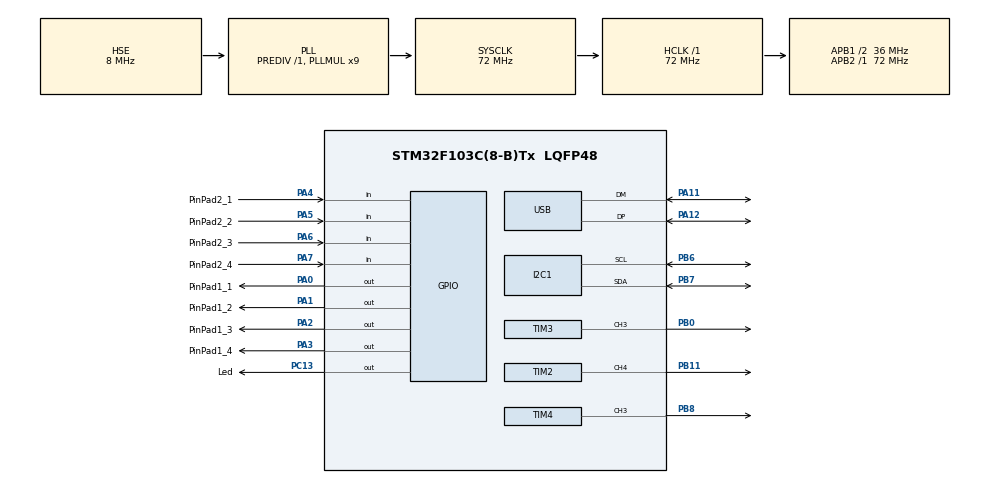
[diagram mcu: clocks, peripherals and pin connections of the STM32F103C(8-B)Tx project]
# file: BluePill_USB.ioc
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Dma.Request0=TIM4_CH3
Dma.Request1=TIM3_CH3
Dma.TIM3_CH3.1.Direction=DMA_MEMORY_TO_PERIPH
Dma.TIM3_CH3.1.Instance=DMA1_Channel2
Dma.TIM3_CH3.1.MemDataAlignment=DMA_MDATAALIGN_HALFWORD
Dma.TIM3_CH3.1.MemInc=DMA_MINC_ENABLE
Dma.TIM3_CH3.1.Mode=DMA_NORMAL
Dma.TIM3_CH3.1.PeriphDataAlignment=DMA_PDATAALIGN_HALFWORD
Dma.TIM3_CH3.1.PeriphInc=DMA_PINC_DISABLE
Dma.TIM3_CH3.1.Priority=DMA_PRIORITY_LOW
Dma.TIM4_CH3.0.Direction=DMA_MEMORY_TO_PERIPH
Dma.TIM4_CH3.0.Instance=DMA1_Channel5
Dma.TIM4_CH3.0.MemDataAlignment=DMA_MDATAALIGN_HALFWORD
Dma.TIM4_CH3.0.MemInc=DMA_MINC_ENABLE
Dma.TIM4_CH3.0.Mode=DMA_NORMAL
Dma.TIM4_CH3.0.PeriphDataAlignment=DMA_PDATAALIGN_HALFWORD
Dma.TIM4_CH3.0.PeriphInc=DMA_PINC_DISABLE
Dma.TIM4_CH3.0.Priority=DMA_PRIORITY_LOW
Mcu.Family=STM32F1
Mcu.Name=STM32F103C(8-B)Tx
Mcu.Package=LQFP48
NVIC.DMA1_Channel2_IRQn=true\:0\:0\:false\:false\:true\:false\:true
NVIC.DMA1_Channel5_IRQn=true\:0\:0\:false\:false\:true\:false\:true
NVIC.PriorityGroup=NVIC_PRIORITYGROUP_4
NVIC.TIM2_IRQn=true\:0\:0\:false\:false\:true\:true\:true
NVIC.USB_LP_CAN1_RX0_IRQn=true\:0\:0\:false\:false\:true\:false\:true
PA0-WKUP.GPIO_Label=PinPad1_1
PA0-WKUP.Signal=GPIO_Output
PA1.GPIO_Label=PinPad1_2
PA1.Signal=GPIO_Output
PA11.Mode=Device
PA11.Signal=USB_DM
PA12.Mode=Device
PA12.Signal=USB_DP
PA13.Mode=Serial_Wire
PA13.Signal=SYS_JTMS-SWDIO
PA14.Mode=Serial_Wire
PA14.Signal=SYS_JTCK-SWCLK
PA2.GPIO_Label=PinPad1_3
PA2.Signal=GPIO_Output
PA3.GPIO_Label=PinPad1_4
PA3.Signal=GPIO_Output
PA4.GPIO_Label=PinPad2_1
PA4.GPIO_PuPd=GPIO_PULLDOWN
PA4.Signal=GPIO_Input
PA5.GPIO_Label=PinPad2_2
PA5.GPIO_PuPd=GPIO_PULLDOWN
PA5.Signal=GPIO_Input
PA6.GPIO_Label=PinPad2_3
PA6.GPIO_PuPd=GPIO_PULLDOWN
PA6.Signal=GPIO_Input
PA7.GPIO_Label=PinPad2_4
PA7.GPIO_PuPd=GPIO_PULLDOWN
PA7.Signal=GPIO_Input
PB0.Signal=S_TIM3_CH3
PB11.Signal=S_TIM2_CH4
PB6.Mode=I2C
PB6.Signal=I2C1_SCL
PB7.Mode=I2C
PB7.Signal=I2C1_SDA
PB8.Signal=S_TIM4_CH3
PC13-TAMPER-RTC.GPIO_Label=Led
PC13-TAMPER-RTC.Signal=GPIO_Output
PD0-OSC_IN.Mode=HSE-External-Oscillator
PD0-OSC_IN.Signal=RCC_OSC_IN
PD1-OSC_OUT.Mode=HSE-External-Oscillator
PD1-OSC_OUT.Signal=RCC_OSC_OUT
ProjectManager.HeapSize=0x200
ProjectManager.StackSize=0x400
ProjectManager.TargetToolchain=MDK-ARM V5.32
RCC.AHBFreq_Value=72000000
RCC.APB1CLKDivider=RCC_HCLK_DIV2
RCC.APB1Freq_Value=36000000
RCC.APB1TimFreq_Value=72000000
RCC.APB2Freq_Value=72000000
RCC.APB2TimFreq_Value=72000000
RCC.HCLKFreq_Value=72000000
RCC.PLLMUL=RCC_PLL_MUL9
RCC.SYSCLKFreq_VALUE=72000000
RCC.SYSCLKSource=RCC_SYSCLKSOURCE_PLLCLK
RCC.USBFreq_Value=48000000
RCC.USBPrescaler=RCC_USBCLKSOURCE_PLL_DIV1_5
SH.S_TIM2_CH4.0=TIM2_CH4,PWM Generation4 CH4
SH.S_TIM3_CH3.0=TIM3_CH3,PWM Generation3 CH3
SH.S_TIM4_CH3.0=TIM4_CH3,PWM Generation3 CH3
TIM2.Channel-PWM\ Generation4\ CH4=TIM_CHANNEL_4
TIM2.Period=200
TIM2.Prescaler=360-1
TIM2.Pulse-PWM\ Generation4\ CH4=100
TIM3.Channel-PWM\ Generation3\ CH3=TIM_CHANNEL_3
TIM3.Period=99
TIM4.Channel-PWM\ Generation3\ CH3=TIM_CHANNEL_3
TIM4.Period=99
USB_DEVICE.CLASS_NAME_FS=CUSTOM_HID
USB_DEVICE.CUSTOM_HID_FS_BINTERVAL=0x20
USB_DEVICE.MANUFACTURER_STRING=LBSens_HUB_V1
USB_DEVICE.USBD_CUSTOMHID_OUTREPORT_BUF_SIZE=20
USB_DEVICE.USBD_CUSTOM_HID_REPORT_DESC_SIZE=108
USB_DEVICE.VirtualMode=CustomHid
USB_DEVICE.VirtualModeFS=Custom_Hid_FS
VP_TIM2_VS_ClockSourceINT.Mode=Internal
VP_USB_DEVICE_VS_USB_DEVICE_CUSTOM_HID_FS.Mode=CUSTOM_HID_FS
board=custom

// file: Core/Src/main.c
/* USER CODE BEGIN Header */
/**
  ******************************************************************************
  * @file           : main.c
  * @brief          : Main program body
  ******************************************************************************
  * @attention
  *
  * <h2><center>&copy; Copyright (c) 2021 STMicroelectronics.
  * All rights reserved.</center></h2>
  *
  * This software component is licensed by ST under BSD 3-Clause license,
  * the "License"; You may not use this file except in compliance with the
  * License. You may obtain a copy of the License at:
  *                        opensource.org/licenses/BSD-3-Clause
  *
  ******************************************************************************
  */
/* USER CODE END Header */
#include "main.h"
#include "usb_device.h"

/* USER CODE BEGIN Includes */
#include "usbd_customhid.h"
/* USER CODE END Includes */

/* USER CODE BEGIN PD */
#define LED_COUNT 10

#define TRESET 48   // not a joke, put at least 2240
#define HIGH 65
#define LOW 26

#define DATA_LENGTH TRESET + LED_COUNT*24 + 1

#define BitIsSet(reg, bit) ((reg & (1<<bit)) != 0)

#define PassLength 15
#define ReportBuffLength PassLength + 2  //1 byte of pass lenght and 1 byte of report ID

#define I2C_ADDRESS 0x09
#define I2C_TIMEOUT 10

/* USER CODE END PD */

I2C_HandleTypeDef hi2c1;

TIM_HandleTypeDef htim2;
TIM_HandleTypeDef htim3;
TIM_HandleTypeDef htim4;
DMA_HandleTypeDef hdma_tim3_ch3;
DMA_HandleTypeDef hdma_tim4_ch3;

/* USER CODE BEGIN PV */
extern USBD_HandleTypeDef  hUsbDeviceFS;

uint8_t password[ReportBuffLength];
uint8_t passNum = 2;

int TimOfBip = 0;
int CanISend = 0;
int pinPad = -1;
int pinPadPrev = -1;
uint8_t RGB[3];

uint8_t regData = 0;
uint8_t regAddress;
int Light = 0;
int LightSum = 0;
int LightAmountOfCheck = 0;
int PreviousLightSum = 0;
int WhiteOrNot = 0;

uint16_t ws2811_data [DATA_LENGTH] = {0};
uint16_t ws2811_data_1 [DATA_LENGTH] = {0};
uint16_t count = 0;
int decrement = 1;
uint16_t adcResult = 0;
/* USER CODE END PV */

void SystemClock_Config(void);
static void MX_GPIO_Init(void);
static void MX_DMA_Init(void);
static void MX_TIM4_Init(void);
static void MX_TIM2_Init(void);
static void MX_I2C1_Init(void);
static void MX_TIM3_Init(void);
/* USER CODE BEGIN PFP */
void ws2811_init(void);
void ws2811_setcolor(int pos, int R_value, int G_value, int B_value);
void ws2811_setcolor_1(int pos, int R_value, int G_value, int B_value);
/* USER CODE END PFP */

/* USER CODE BEGIN 0 */
void checkPinPad()
{
	pinPad = -1;
	for(int i = 0; i < 4; ++i)
	{
		switch (i)
    {
        case 0: HAL_GPIO_WritePin(GPIOA, GPIO_PIN_0, GPIO_PIN_SET); break;
        case 1: HAL_GPIO_WritePin(GPIOA, GPIO_PIN_1, GPIO_PIN_SET); break;
        case 2: HAL_GPIO_WritePin(GPIOA, GPIO_PIN_2, GPIO_PIN_SET); break;
        case 3: HAL_GPIO_WritePin(GPIOA, GPIO_PIN_3, GPIO_PIN_SET); break;
    }

		if(HAL_GPIO_ReadPin(GPIOA, GPIO_PIN_4)){
			pinPad = i+1;
		}else if(HAL_GPIO_ReadPin(GPIOA, GPIO_PIN_5)){
			pinPad = 5+i;
		}else if(HAL_GPIO_ReadPin(GPIOA, GPIO_PIN_6)){
			pinPad = 9+i;
		}else if(HAL_GPIO_ReadPin(GPIOA, GPIO_PIN_7)){
			pinPad = 13+i;
		}

		HAL_GPIO_WritePin(GPIOA, GPIO_PIN_0, GPIO_PIN_RESET);
		HAL_GPIO_WritePin(GPIOA, GPIO_PIN_1, GPIO_PIN_RESET);
		HAL_GPIO_WritePin(GPIOA, GPIO_PIN_2, GPIO_PIN_RESET);
		HAL_GPIO_WritePin(GPIOA, GPIO_PIN_3, GPIO_PIN_RESET);

		if(pinPad != -1)
			break;
	}
	HAL_Delay(10);
	return;
}

int ConvertPass(int num)
{
	switch(num){
			case 8: return 0;
			case 1: return 1;
			case 5: return 2;
			case 9: return 3;
			case 2: return 4;
			case 6: return 5;
			case 10: return 6;
			case 3: return 7;
			case 7: return 8;
			case 11: return 9;
			case 13: return 14;
			case 14: return 15;
			case 15: return 16;
			default: return -1;
	}

}

void Bip(int time)
{
		TimOfBip = 0;
		HAL_TIM_PWM_Start_IT(&htim2, TIM_CHANNEL_4);
		while(TimOfBip < time)
		{
			HAL_Delay(1);
		}
		HAL_TIM_PWM_Stop_IT(&htim2,TIM_CHANNEL_4);
}

int checkLight()
{
	regAddress = 0x15;//0x11;
	HAL_I2C_Master_Transmit(&hi2c1, (I2C_ADDRESS << 1), &regAddress, 1,  I2C_TIMEOUT);
  HAL_I2C_Master_Receive(&hi2c1, (I2C_ADDRESS << 1), &regData, 1,  I2C_TIMEOUT);

	return regData;
}
/* USER CODE END 0 */

int main(void)
{

  /* MCU Configuration--------------------------------------------------------*/

  /* Reset of all peripherals, Initializes the Flash interface and the Systick. */
  HAL_Init();

  /* Configure the system clock */
  SystemClock_Config();

  /* Initialize all configured peripherals */
  MX_GPIO_Init();
  MX_USB_DEVICE_Init();
  MX_DMA_Init();
  MX_TIM4_Init();
  MX_TIM2_Init();
  MX_I2C1_Init();
  MX_TIM3_Init();
  /* USER CODE BEGIN 2 */
	ws2811_init();
	//HAL_TIM_PWM_Start_DMA(&htim4, TIM_CHANNEL_3, (uint32_t*)&ws2811_data, DATA_LENGTH);
	//HAL_TIM_PWM_Start_DMA(&htim3, TIM_CHANNEL_3, (uint32_t*)&ws2811_data, DATA_LENGTH);
	HAL_GPIO_WritePin(GPIOA, GPIO_PIN_0, GPIO_PIN_RESET);
	HAL_GPIO_WritePin(GPIOA, GPIO_PIN_1, GPIO_PIN_RESET);
	HAL_GPIO_WritePin(GPIOA, GPIO_PIN_2, GPIO_PIN_RESET);
	HAL_GPIO_WritePin(GPIOA, GPIO_PIN_3, GPIO_PIN_RESET);
	HAL_GPIO_WritePin(GPIOC, GPIO_PIN_13, GPIO_PIN_SET);

	for(int i = 0; i < ReportBuffLength; ++i){
		password[i] = 0;
	}
  /* USER CODE END 2 */

  /* Infinite loop */
  /* USER CODE BEGIN WHILE */
	HAL_Delay(100);//INIT;
  while (1)
  {
		Light = checkLight();
		LightSum+=Light;
		LightAmountOfCheck++;
		if(LightAmountOfCheck >= 5){
			PreviousLightSum = LightSum/5;
			LightAmountOfCheck = 0;
			LightSum = 0;
		}

		if(PreviousLightSum > 90)
			WhiteOrNot = 1;
		else if (PreviousLightSum < 80)
			WhiteOrNot = 0;

		if(WhiteOrNot)
		{
			for(int i = 0; i < LED_COUNT; ++i)
			{
				ws2811_setcolor(i, 100, 100, 100);
			}
		} else
		{
			for(int i = 0; i < LED_COUNT; ++i)
			{
				ws2811_setcolor(i, 0, 0, 0);
			}
		}
		HAL_TIM_PWM_Start_DMA(&htim4, TIM_CHANNEL_3, (uint32_t*)&ws2811_data, DATA_LENGTH);

		for(int i = 0; i < LED_COUNT; ++i)
		{
			ws2811_setcolor_1(i, RGB[0], RGB[1], RGB[2]);
		}
		HAL_TIM_PWM_Start_DMA(&htim3, TIM_CHANNEL_3, (uint32_t*)&ws2811_data_1, DATA_LENGTH);

		checkPinPad();
		pinPad = ConvertPass(pinPad);

		if(pinPad != pinPadPrev && pinPad != -1) {
			if(pinPad == 14 && passNum > 2)
			{
				Bip(300);
				HAL_Delay(100);
				Bip(300);

				passNum = 2;
				for(int i = 0; i < ReportBuffLength; ++i){
					password[i] = 0;
				}

			}else if(pinPad == 15 && passNum > 2)
			{
				Bip(300);

				passNum--;
				password[passNum] = 0;

			}else if(pinPad == 16 && passNum > 2)
			{
				Bip(300);

				password[0] = 3;
				password[1] = passNum-2;
				passNum = 2;

				uint8_t ToSend[ReportBuffLength];

				for(int i = 0; i < ReportBuffLength; ++i){
					ToSend[i] = password[i];
					password[i] = 0;
				}

				USBD_CUSTOM_HID_SendReport(&hUsbDeviceFS, ToSend, ReportBuffLength);

			}else if(passNum < ReportBuffLength && pinPad != 14  && pinPad != 15  && pinPad != 16)
			{
				password[passNum] = pinPad;
				passNum++;

				Bip(100);

			}
		}

		pinPadPrev = pinPad;//*/

    /* USER CODE END WHILE */

  }
}

void SystemClock_Config(void)
{
  RCC_OscInitTypeDef RCC_OscInitStruct = {0};
  RCC_ClkInitTypeDef RCC_ClkInitStruct = {0};
  RCC_PeriphCLKInitTypeDef PeriphClkInit = {0};

  /** Initializes the RCC Oscillators according to the specified parameters
  * in the RCC_OscInitTypeDef structure.
  */
  RCC_OscInitStruct.OscillatorType = RCC_OSCILLATORTYPE_HSE;
  RCC_OscInitStruct.HSEState = RCC_HSE_ON;
  RCC_OscInitStruct.HSEPredivValue = RCC_HSE_PREDIV_DIV1;
  RCC_OscInitStruct.HSIState = RCC_HSI_ON;
  RCC_OscInitStruct.PLL.PLLState = RCC_PLL_ON;
  RCC_OscInitStruct.PLL.PLLSource = RCC_PLLSOURCE_HSE;
  RCC_OscInitStruct.PLL.PLLMUL = RCC_PLL_MUL9;
  if (HAL_RCC_OscConfig(&RCC_OscInitStruct) != HAL_OK)
  {
    Error_Handler();
  }
  /** Initializes the CPU, AHB and APB buses clocks
  */
  RCC_ClkInitStruct.ClockType = RCC_CLOCKTYPE_HCLK|RCC_CLOCKTYPE_SYSCLK
                              |RCC_CLOCKTYPE_PCLK1|RCC_CLOCKTYPE_PCLK2;
  RCC_ClkInitStruct.SYSCLKSource = RCC_SYSCLKSOURCE_PLLCLK;
  RCC_ClkInitStruct.AHBCLKDivider = RCC_SYSCLK_DIV1;
  RCC_ClkInitStruct.APB1CLKDivider = RCC_HCLK_DIV2;
  RCC_ClkInitStruct.APB2CLKDivider = RCC_HCLK_DIV1;

  if (HAL_RCC_ClockConfig(&RCC_ClkInitStruct, FLASH_LATENCY_2) != HAL_OK)
  {
    Error_Handler();
  }
  PeriphClkInit.PeriphClockSelection = RCC_PERIPHCLK_USB;
  PeriphClkInit.UsbClockSelection = RCC_USBCLKSOURCE_PLL_DIV1_5;
  if (HAL_RCCEx_PeriphCLKConfig(&PeriphClkInit) != HAL_OK)
  {
    Error_Handler();
  }
}

static void MX_I2C1_Init(void)
{

  hi2c1.Instance = I2C1;
  hi2c1.Init.ClockSpeed = 100000;
  hi2c1.Init.DutyCycle = I2C_DUTYCYCLE_2;
  hi2c1.Init.OwnAddress1 = 0;
  hi2c1.Init.AddressingMode = I2C_ADDRESSINGMODE_7BIT;
  hi2c1.Init.DualAddressMode = I2C_DUALADDRESS_DISABLE;
  hi2c1.Init.OwnAddress2 = 0;
  hi2c1.Init.GeneralCallMode = I2C_GENERALCALL_DISABLE;
  hi2c1.Init.NoStretchMode = I2C_NOSTRETCH_DISABLE;
  if (HAL_I2C_Init(&hi2c1) != HAL_OK)
  {
    Error_Handler();
  }

}

static void MX_TIM2_Init(void)
{

  TIM_ClockConfigTypeDef sClockSourceConfig = {0};
  TIM_MasterConfigTypeDef sMasterConfig = {0};
  TIM_OC_InitTypeDef sConfigOC = {0};

  htim2.Instance = TIM2;
  htim2.Init.Prescaler = 360-1;
  htim2.Init.CounterMode = TIM_COUNTERMODE_UP;
  htim2.Init.Period = 200;
  htim2.Init.ClockDivision = TIM_CLOCKDIVISION_DIV1;
  htim2.Init.AutoReloadPreload = TIM_AUTORELOAD_PRELOAD_DISABLE;
  if (HAL_TIM_Base_Init(&htim2) != HAL_OK)
  {
    Error_Handler();
  }
  sClockSourceConfig.ClockSource = TIM_CLOCKSOURCE_INTERNAL;
  if (HAL_TIM_ConfigClockSource(&htim2, &sClockSourceConfig) != HAL_OK)
  {
    Error_Handler();
  }
  if (HAL_TIM_PWM_Init(&htim2) != HAL_OK)
  {
    Error_Handler();
  }
  sMasterConfig.MasterOutputTrigger = TIM_TRGO_RESET;
  sMasterConfig.MasterSlaveMode = TIM_MASTERSLAVEMODE_DISABLE;
  if (HAL_TIMEx_MasterConfigSynchronization(&htim2, &sMasterConfig) != HAL_OK)
  {
    Error_Handler();
  }
  sConfigOC.OCMode = TIM_OCMODE_PWM1;
  sConfigOC.Pulse = 100;
  sConfigOC.OCPolarity = TIM_OCPOLARITY_HIGH;
  sConfigOC.OCFastMode = TIM_OCFAST_DISABLE;
  if (HAL_TIM_PWM_ConfigChannel(&htim2, &sConfigOC, TIM_CHANNEL_4) != HAL_OK)
  {
    Error_Handler();
  }
  HAL_TIM_MspPostInit(&htim2);

}

static void MX_TIM3_Init(void)
{

  TIM_MasterConfigTypeDef sMasterConfig = {0};
  TIM_OC_InitTypeDef sConfigOC = {0};

  htim3.Instance = TIM3;
  htim3.Init.Prescaler = 0;
  htim3.Init.CounterMode = TIM_COUNTERMODE_UP;
  htim3.Init.Period = 99;
  htim3.Init.ClockDivision = TIM_CLOCKDIVISION_DIV1;
  htim3.Init.AutoReloadPreload = TIM_AUTORELOAD_PRELOAD_DISABLE;
  if (HAL_TIM_PWM_Init(&htim3) != HAL_OK)
  {
    Error_Handler();
  }
  sMasterConfig.MasterOutputTrigger = TIM_TRGO_RESET;
  sMasterConfig.MasterSlaveMode = TIM_MASTERSLAVEMODE_DISABLE;
  if (HAL_TIMEx_MasterConfigSynchronization(&htim3, &sMasterConfig) != HAL_OK)
  {
    Error_Handler();
  }
  sConfigOC.OCMode = TIM_OCMODE_PWM1;
  sConfigOC.Pulse = 0;
  sConfigOC.OCPolarity = TIM_OCPOLARITY_HIGH;
  sConfigOC.OCFastMode = TIM_OCFAST_DISABLE;
  if (HAL_TIM_PWM_ConfigChannel(&htim3, &sConfigOC, TIM_CHANNEL_3) != HAL_OK)
  {
    Error_Handler();
  }
  HAL_TIM_MspPostInit(&htim3);

}

static void MX_TIM4_Init(void)
{

  TIM_MasterConfigTypeDef sMasterConfig = {0};
  TIM_OC_InitTypeDef sConfigOC = {0};

  htim4.Instance = TIM4;
  htim4.Init.Prescaler = 0;
  htim4.Init.CounterMode = TIM_COUNTERMODE_UP;
  htim4.Init.Period = 99;
  htim4.Init.ClockDivision = TIM_CLOCKDIVISION_DIV1;
  htim4.Init.AutoReloadPreload = TIM_AUTORELOAD_PRELOAD_DISABLE;
  if (HAL_TIM_PWM_Init(&htim4) != HAL_OK)
  {
    Error_Handler();
  }
  sMasterConfig.MasterOutputTrigger = TIM_TRGO_RESET;
  sMasterConfig.MasterSlaveMode = TIM_MASTERSLAVEMODE_DISABLE;
  if (HAL_TIMEx_MasterConfigSynchronization(&htim4, &sMasterConfig) != HAL_OK)
  {
    Error_Handler();
  }
  sConfigOC.OCMode = TIM_OCMODE_PWM1;
  sConfigOC.Pulse = 0;
  sConfigOC.OCPolarity = TIM_OCPOLARITY_HIGH;
  sConfigOC.OCFastMode = TIM_OCFAST_DISABLE;
  if (HAL_TIM_PWM_ConfigChannel(&htim4, &sConfigOC, TIM_CHANNEL_3) != HAL_OK)
  {
    Error_Handler();
  }
  HAL_TIM_MspPostInit(&htim4);

}

static void MX_DMA_Init(void)
{

  /* DMA controller clock enable */
  __HAL_RCC_DMA1_CLK_ENABLE();

  /* DMA interrupt init */
  /* DMA1_Channel2_IRQn interrupt configuration */
  HAL_NVIC_SetPriority(DMA1_Channel2_IRQn, 0, 0);
  HAL_NVIC_EnableIRQ(DMA1_Channel2_IRQn);
  /* DMA1_Channel5_IRQn interrupt configuration */
  HAL_NVIC_SetPriority(DMA1_Channel5_IRQn, 0, 0);
  HAL_NVIC_EnableIRQ(DMA1_Channel5_IRQn);

}

static void MX_GPIO_Init(void)
{
  GPIO_InitTypeDef GPIO_InitStruct = {0};

  /* GPIO Ports Clock Enable */
  __HAL_RCC_GPIOC_CLK_ENABLE();
  __HAL_RCC_GPIOD_CLK_ENABLE();
  __HAL_RCC_GPIOA_CLK_ENABLE();
  __HAL_RCC_GPIOB_CLK_ENABLE();

  /*Configure GPIO pin Output Level */
  HAL_GPIO_WritePin(Led_GPIO_Port, Led_Pin, GPIO_PIN_RESET);

  /*Configure GPIO pin Output Level */
  HAL_GPIO_WritePin(GPIOA, PinPad1_1_Pin|PinPad1_2_Pin|PinPad1_3_Pin|PinPad1_4_Pin, GPIO_PIN_RESET);

  /*Configure GPIO pin : Led_Pin */
  GPIO_InitStruct.Pin = Led_Pin;
  GPIO_InitStruct.Mode = GPIO_MODE_OUTPUT_PP;
  GPIO_InitStruct.Pull = GPIO_NOPULL;
  GPIO_InitStruct.Speed = GPIO_SPEED_FREQ_LOW;
  HAL_GPIO_Init(Led_GPIO_Port, &GPIO_InitStruct);

  /*Configure GPIO pins : PinPad1_1_Pin PinPad1_2_Pin PinPad1_3_Pin PinPad1_4_Pin */
  GPIO_InitStruct.Pin = PinPad1_1_Pin|PinPad1_2_Pin|PinPad1_3_Pin|PinPad1_4_Pin;
  GPIO_InitStruct.Mode = GPIO_MODE_OUTPUT_PP;
  GPIO_InitStruct.Pull = GPIO_NOPULL;
  GPIO_InitStruct.Speed = GPIO_SPEED_FREQ_LOW;
  HAL_GPIO_Init(GPIOA, &GPIO_InitStruct);

  /*Configure GPIO pins : PinPad2_1_Pin PinPad2_2_Pin PinPad2_3_Pin PinPad2_4_Pin */
  GPIO_InitStruct.Pin = PinPad2_1_Pin|PinPad2_2_Pin|PinPad2_3_Pin|PinPad2_4_Pin;
  GPIO_InitStruct.Mode = GPIO_MODE_INPUT;
  GPIO_InitStruct.Pull = GPIO_PULLDOWN;
  HAL_GPIO_Init(GPIOA, &GPIO_InitStruct);

}

/* USER CODE BEGIN 4 */
void ws2811_init(void)
{
	for (int c = 0; c < TRESET; c++) {
		ws2811_data[c] = 0;
		ws2811_data_1[c] = 0;
	}
	for (int c = TRESET; c < DATA_LENGTH-1; c++) {
		ws2811_data[c] = LOW;
		ws2811_data_1[c] = 0;
	}

	ws2811_data[DATA_LENGTH-1] = 0;
	ws2811_data_1[DATA_LENGTH-1] = 0;
}
void ws2811_setcolor(int pos, int R_value, int G_value, int B_value) {

	int offset = TRESET + pos*24;
	int i = 0;

	for (i = 0; i < 8; i++) {
		if (BitIsSet(G_value, (7-i))) {
			ws2811_data[offset + i] = HIGH;
		} else {
			ws2811_data[offset + i] = LOW;
		}
	}

	for (i = 0; i < 8; i++) {
		if (BitIsSet(R_value, (7-i))) {
			ws2811_data[offset + 8 + i] = HIGH;
		} else {
			ws2811_data[offset + 8 + i] = LOW;
		}
	}

	for (i = 0; i < 8; i++) {
		if (BitIsSet(B_value, (7-i))) {
			ws2811_data[offset + 16 + i] = HIGH;
		} else {
			ws2811_data[offset + 16 + i] = LOW;
		}
	}
}

void ws2811_setcolor_1(int pos, int R_value, int G_value, int B_value) {

	int offset = TRESET + pos*24;
	int i = 0;

	for (i = 0; i < 8; i++) {
		if (BitIsSet(G_value, (7-i))) {
			ws2811_data_1[offset + i] = HIGH;
		} else {
			ws2811_data_1[offset + i] = LOW;
		}
	}

	for (i = 0; i < 8; i++) {
		if (BitIsSet(R_value, (7-i))) {
			ws2811_data_1[offset + 8 + i] = HIGH;
		} else {
			ws2811_data_1[offset + 8 + i] = LOW;
		}
	}

	for (i = 0; i < 8; i++) {
		if (BitIsSet(B_value, (7-i))) {
			ws2811_data_1[offset + 16 + i] = HIGH;
		} else {
			ws2811_data_1[offset + 16 + i] = LOW;
		}
	}
}

/* USER CODE END 4 */

void Error_Handler(void)
{
  __disable_irq();
  while (1)
  {
  }
}

/************************ (C) COPYRIGHT STMicroelectronics *****END OF FILE****/
